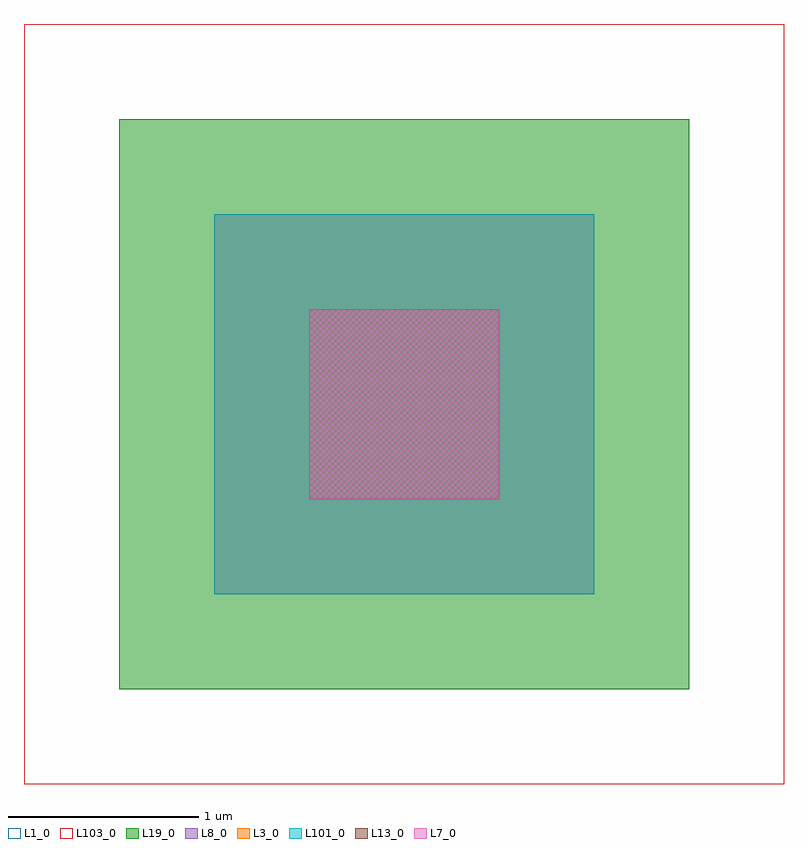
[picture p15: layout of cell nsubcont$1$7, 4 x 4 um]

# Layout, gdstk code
import gdstk
lib = gdstk.Library(unit=1e-6, precision=1e-07)
def R(c, l, rs):  # rectangles x0, y0, x1, y1
    for r in rs: c.add(gdstk.rectangle(r[:2], r[2:], *l))
L1_0 = (1, 0)
L3_0 = (3, 0)
L7_0 = (7, 0)
L8_0 = (8, 0)
L13_0 = (13, 0)
L19_0 = (19, 0)
L101_0 = (101, 0)
L103_0 = (103, 0)

dcont1_1_7 = lib.new_cell('dcont1$1$7')
R(dcont1_1_7, L3_0, [(-1,-1,1,1)])
R(dcont1_1_7, L7_0, [(-0.5,-0.5,0.5,0.5)])
R(dcont1_1_7, L8_0, [(-1,-1,1,1)])
R(dcont1_1_7, L13_0, [(-0.5,-0.5,0.5,0.5)])
R(dcont1_1_7, L101_0, [(-1,-1,1,1)])

nsubcont_1_7 = lib.new_cell('nsubcont$1$7')
R(nsubcont_1_7, L1_0, [(-2,-2,2,2)])
R(nsubcont_1_7, L19_0, [(-1.5,-1.5,1.5,1.5)])
R(nsubcont_1_7, L103_0, [(-2,-2,2,2)])
nsubcont_1_7.add(gdstk.Reference(dcont1_1_7, (0,0)))

lib.write_gds('nsubcont_1_7.gds')
